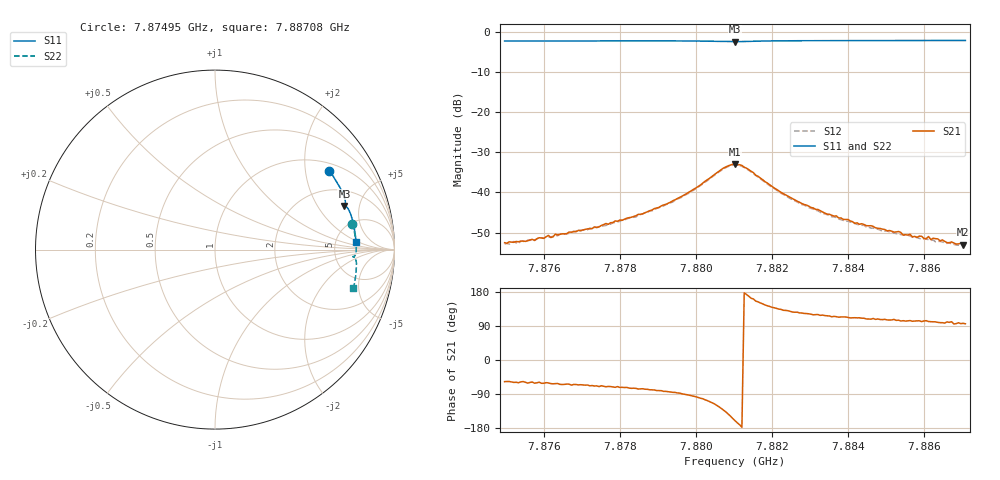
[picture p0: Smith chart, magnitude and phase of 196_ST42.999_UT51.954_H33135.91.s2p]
#  HZ  S  DB  R  50.00
! Rohde & Schwarz Vector Network Analyzer
! Rohde-Schwarz,ZNB20-2Port,1311601062101988,3.16
! Created: UTC 1/12/2023, 6:43:57 PM
! freq[Hz]  db:S11  ang:S11  db:S21  ang:S21  db:S12  ang:S12  db:S22  ang:S22
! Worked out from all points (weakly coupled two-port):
!   201 points, 7.87495 GHz to 7.88708 GHz, reference 50 ohm
!   highest |S21| = -32.90 dB at 7.88102 GHz (marker M1); lowest = -53.0 dB at 7.88702 GHz (marker M2)
!   lowest |S11| = -2.4 dB at 7.88102 GHz (marker M3), VSWR 7.35, Z = 154 + j177 ohm
!   |S11| at or under -10 dB: nowhere
!   |S22| runs from -2.3 to -1.9 dB; largest |S21 - S12| = 0.0015
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7.874953e9  -2.23 34.6  -52.53 -57.1  -52.86 -59.3  -2.17 10.8
7.875742e9  -2.22 32.5  -51.94 -61.2  -52.00 -62.8  -2.14 8.9
7.876106e9  -2.21 31.5  -50.70 -60.4  -51.10 -67.3  -2.14 8.0
7.876166e9  -2.21 31.3  -51.23 -62.3  -51.14 -63.9  -2.13 7.9
7.876288e9  -2.21 31.0  -50.40 -62.3  -50.70 -65.5  -2.14 7.6
7.877015e9  -2.20 29.0  -49.37 -65.8  -49.33 -68.9  -2.12 5.9
7.87841e9  -2.19 25.2  -45.80 -74.9  -46.12 -78.8  -2.09 2.6
7.879017e9  -2.18 23.5  -43.72 -80.9  -43.77 -84.0  -2.08 1.1
7.879806e9  -2.20 21.2  -39.90 -92.7  -40.17 -96.2  -2.09 -0.8
7.880715e9  -2.33 18.8  -33.91 -132.3  -34.14 -135.5  -2.21 -2.9
7.881019e9  -2.38 18.6  -32.90 -160.0  -33.12 -162.9  -2.27 -2.9
7.881261e9  -2.34 18.5  -33.70 177.2  -33.77 174.7  -2.24 -2.8
7.882232e9  -2.17 16.1  -39.98 133.5  -40.20 129.5  -2.05 -4.8
7.883081e9  -2.14 13.7  -43.86 119.3  -44.14 116.8  -2.01 -6.8
7.884173e9  -2.12 10.7  -47.70 111.6  -47.76 107.3  -1.98 -9.4
7.885082e9  -2.10 8.3  -49.48 105.6  -49.81 102.7  -1.96 -11.4
7.885446e9  -2.10 7.4  -50.63 103.7  -50.56 100.8  -1.96 -12.2
7.885628e9  -2.09 6.9  -50.43 104.0  -50.87 99.2  -1.96 -12.6
7.885689e9  -2.09 6.7  -51.07 102.2  -51.11 99.0  -1.95 -12.7
7.886295e9  -2.09 5.1  -51.52 100.7  -52.30 98.1  -1.95 -14.1
7.887023e9  -2.08 3.3  -53.02 96.8  -52.96 94.6  -1.95 -15.6
7.887084e9  -2.08 3.1  -52.86 95.6  -53.39 94.3  -1.94 -15.7
